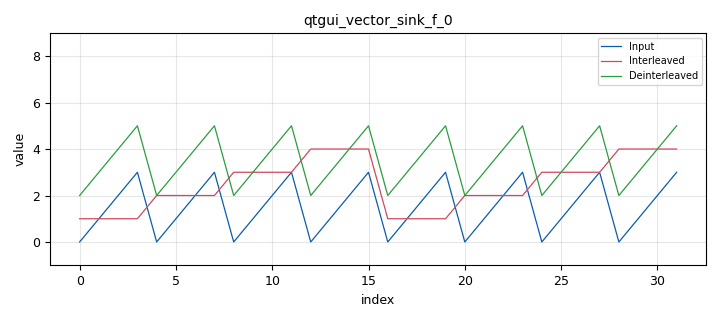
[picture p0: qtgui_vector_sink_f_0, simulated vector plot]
options:
  parameters:
    author: Jared Dulmage
    copyright: 2020 Caliola Engineering, LLC
    description: Matrix interleaver, inputs along rows, outputs along columns
    generate_options: qt_gui
    id: matrix_interleaver_example
    output_language: python
    title: Block Interleaver Test
  states: {}

blocks:
- name: cols
  id: variable
  parameters:
    value: '8'
  states: {}
- name: rows
  id: variable
  parameters:
    value: '4'
  states: {}
- name: samp_rate
  id: variable
  parameters:
    value: '32000'
  states: {}
- name: blocks_add_const_vxx_0
  id: blocks_add_const_vxx
  parameters:
    comment: Offset for visual
    const: '1'
    type: float
  states: {}
- name: blocks_add_const_vxx_0_0
  id: blocks_add_const_vxx
  parameters:
    comment: Offset for visual
    const: '1'
    type: float
  states: {}
- name: blocks_matrix_interleaver_0
  id: blocks_matrix_interleaver
  parameters:
    cols: cols
    deint: 'False'
    rows: rows
    type: float
  states: {}
- name: blocks_matrix_interleaver_0_0
  id: blocks_matrix_interleaver
  parameters:
    cols: cols
    deint: 'True'
    rows: rows
    type: float
  states: {}
- name: blocks_stream_to_vector_0
  id: blocks_stream_to_vector
  parameters:
    num_items: rows * cols
    type: float
  states: {}
- name: blocks_stream_to_vector_0_0
  id: blocks_stream_to_vector
  parameters:
    num_items: rows * cols
    type: float
  states: {}
- name: blocks_stream_to_vector_0_1
  id: blocks_stream_to_vector
  parameters:
    num_items: rows * cols
    type: float
  states: {}
- name: blocks_throttle2_0
  id: blocks_throttle2
  parameters:
    samples_per_second: samp_rate
    type: float
  states: {}
- name: blocks_vector_source_x_0
  id: blocks_vector_source_x
  parameters:
    repeat: 'True'
    type: float
    vector: np.kron(np.ones(cols), np.arange(rows))
  states: {}
- name: import_0
  id: import
  parameters:
    imports: import numpy as np
  states: {}
- name: qtgui_vector_sink_f_0
  id: qtgui_vector_sink_f
  parameters:
    alpha1: '0.4'
    alpha2: '0.4'
    alpha3: '0.4'
    grid: 'True'
    label1: Input
    label2: Interleaved
    label3: Deinterleaved
    nconnections: '3'
    vlen: rows * cols
    x_axis_label: index
    x_start: '0'
    x_step: '1.0'
    y_axis_label: value
    ymax: max(rows, cols) + 1
    ymin: '-1'
  states: {}

connections:
- [blocks_add_const_vxx_0, '0', blocks_matrix_interleaver_0_0, '0']
- [blocks_add_const_vxx_0, '0', blocks_stream_to_vector_0, '0']
- [blocks_add_const_vxx_0_0, '0', blocks_stream_to_vector_0_1, '0']
- [blocks_matrix_interleaver_0, '0', blocks_add_const_vxx_0, '0']
- [blocks_matrix_interleaver_0_0, '0', blocks_add_const_vxx_0_0, '0']
- [blocks_stream_to_vector_0, '0', qtgui_vector_sink_f_0, '1']
- [blocks_stream_to_vector_0_0, '0', qtgui_vector_sink_f_0, '0']
- [blocks_stream_to_vector_0_1, '0', qtgui_vector_sink_f_0, '2']
- [blocks_throttle2_0, '0', blocks_stream_to_vector_0_0, '0']
- [blocks_vector_source_x_0, '0', blocks_matrix_interleaver_0, '0']
- [blocks_vector_source_x_0, '0', blocks_throttle2_0, '0']

metadata:
  file_format: 1
  grc_version: 3.10.10.0
